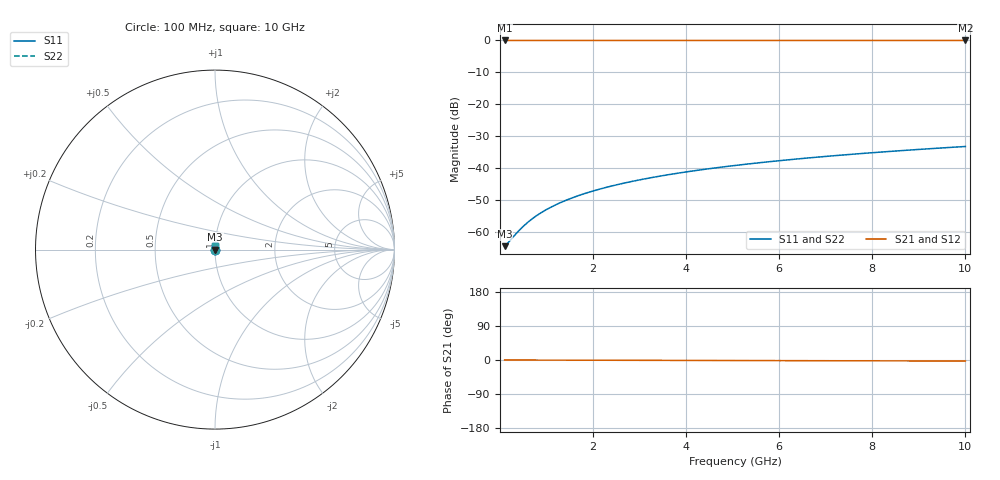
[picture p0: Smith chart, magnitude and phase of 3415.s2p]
# Hz S RI R 50.00
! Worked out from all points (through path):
!   100 points, 100 MHz to 10 GHz, reference 50 ohm
!   highest |S21| = 0.00 dB at 100 MHz (marker M1); lowest = 0.0 dB at 10 GHz (marker M2)
!   lowest |S11| = -64.4 dB at 100 MHz (marker M3), VSWR 1.00, Z = 50.1 + j0.0218 ohm
!   |S11| at or under -10 dB: start of sweep to end of sweep
!   |S22| runs from -64.4 to -33.2 dB; largest |S21 - S12| = 0
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1e8  0.000563 0.000218  0.9994 -0.000481  0.9994 -0.000481  0.000563 0.000218
2e8  0.000567 0.000436  0.9994 -0.000962  0.9994 -0.000962  0.000567 0.000436
4e8  0.000573 0.000873  0.9994 -0.00192  0.9994 -0.00192  0.000573 0.000873
5e8  0.000576 0.00109  0.9994 -0.0024  0.9994 -0.0024  0.000576 0.00109
6e8  0.000579 0.00131  0.9994 -0.00289  0.9994 -0.00289  0.000579 0.00131
7e8  0.000582 0.00153  0.9994 -0.00337  0.9994 -0.00337  0.000582 0.00153
8e8  0.000585 0.00175  0.9994 -0.00385  0.9994 -0.00385  0.000585 0.00175
1e9  0.000591 0.00218  0.9994 -0.00481  0.9994 -0.00481  0.000591 0.00218
1.2e9  0.000597 0.00262  0.9994 -0.00577  0.9994 -0.00577  0.000597 0.00262
1.5e9  0.000608 0.00327  0.9994 -0.00722  0.9994 -0.00722  0.000608 0.00327
1.8e9  0.000621 0.00393  0.9994 -0.00866  0.9994 -0.00866  0.000621 0.00393
2.1e9  0.000636 0.00458  0.9993 -0.0101  0.9993 -0.0101  0.000636 0.00458
2.5e9  0.000658 0.00546  0.9993 -0.012  0.9993 -0.012  0.000658 0.00546
2.9e9  0.000683 0.00633  0.9993 -0.014  0.9993 -0.014  0.000683 0.00633
3.4e9  0.000718 0.00742  0.9992 -0.0164  0.9992 -0.0164  0.000718 0.00742
4.2e9  0.000786 0.00917  0.9991 -0.0202  0.9991 -0.0202  0.000786 0.00917
5.1e9  0.000879 0.0111  0.999 -0.0246  0.999 -0.0246  0.000879 0.0111
5.9e9  0.000975 0.0129  0.9989 -0.0284  0.9989 -0.0284  0.000975 0.0129
6.7e9  0.00109 0.0146  0.9987 -0.0323  0.9987 -0.0323  0.00109 0.0146
7.5e9  0.00121 0.0164  0.9986 -0.0361  0.9986 -0.0361  0.00121 0.0164
8.4e9  0.00136 0.0183  0.9984 -0.0405  0.9984 -0.0405  0.00136 0.0183
1e10  0.00168 0.0218  0.9979 -0.0482  0.9979 -0.0482  0.00168 0.0218
